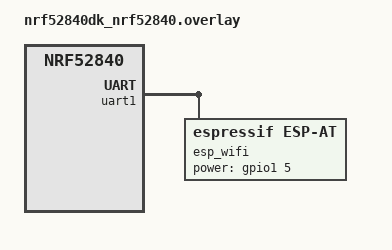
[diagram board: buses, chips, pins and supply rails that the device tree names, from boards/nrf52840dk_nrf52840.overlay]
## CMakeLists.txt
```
# SPDX-License-Identifier: Apache-2.0

cmake_minimum_required(VERSION 3.20.0)

if(BOARD STREQUAL "nrf52840dk/nrf52840")
    if(NOT SHIELD)
        set(SHIELD golioth_esp_at)
        message(WARNING
            "Implicitly selecting golioth_esp_at SHIELD. This behavior is\
             deprecated. Specify '--shield golioth_esp_at' explicitly with\
             'west build' invocation.")
    endif()
endif()

find_package(Zephyr REQUIRED HINTS $ENV{ZEPHYR_BASE})
project(stream)

target_sources(app PRIVATE src/main.c)
```

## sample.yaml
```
sample:
  description: Send data to Golioth Stream service
  name: stream
common:
  harness: pytest
  tags:
    - golioth
    - socket
    - goliothd
tests:
  sample.golioth.stream:
    timeout: 180
    extra_configs:
      - CONFIG_GOLIOTH_SAMPLE_TWISTER_TEST=y
      - arch:posix:CONFIG_NATIVE_UART_0_ON_STDINOUT=y
    platform_allow:
      - esp32s3_devkitc/esp32s3/procpu
      - frdm_rw612
      - native_sim
      - native_sim/native/64
      - nrf9160dk/nrf9160/ns
      - nucleo_h563zi/stm32h563xx
  sample.golioth.stream.wifi:
    harness: pytest
    tags:
      - golioth
      - socket
      - goliothd
    timeout: 180
    extra_configs:
      - CONFIG_GOLIOTH_SAMPLE_TWISTER_TEST=y
    extra_args:
      - EXTRA_CONF_FILE=boards/frdm_rw612_wifi.conf
    platform_allow:
      - frdm_rw612
```

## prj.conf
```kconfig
# Application
CONFIG_GOLIOTH_SAMPLE_COMMON=y

# Golioth Firmware SDK with all dependencies
CONFIG_GOLIOTH_FIRMWARE_SDK=y
CONFIG_GOLIOTH_STREAM=y
```

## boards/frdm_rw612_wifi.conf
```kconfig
# Extra configuration file for using NXP frdm_rw612 with WiFi instead of Ethernet
#   To use, add as extra conf file:
#   west build -p -b frdm_rw612 examples/zephyr/stream --extra-conf boards/frdm_rw612_wifi.conf
#
CONFIG_WIFI=y
CONFIG_WIFI_NXP=y
CONFIG_GOLIOTH_SAMPLE_WIFI=y

# Runtime provisioning for WiFi credentials
CONFIG_WIFI_CREDENTIALS=y
CONFIG_NET_L2_WIFI_SHELL=y
CONFIG_SHELL_STACK_SIZE=2560

# Wifi Configuration
CONFIG_NET_L2_ETHERNET=y
CONFIG_NET_PKT_RX_COUNT=36
CONFIG_NET_PKT_TX_COUNT=36
CONFIG_NET_BUF_RX_COUNT=40
CONFIG_NET_BUF_TX_COUNT=40
CONFIG_NET_BUF_DATA_SIZE=1744

# Handle WiFi Networks with Multiple DNS Servers
CONFIG_DNS_RESOLVER_MAX_SERVERS=3

# Disable Ethernet
CONFIG_ETH_NXP_ENET=n
CONFIG_PHY_MICROCHIP_KSZ8081=n
CONFIG_NET_CONFIG_AUTO_INIT=n
CONFIG_NET_CONFIG_NEED_IPV4=n

CONFIG_ZVFS_POLL_MAX=4
```

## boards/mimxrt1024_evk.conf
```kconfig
CONFIG_GOLIOTH_SAMPLE_DHCP_BIND=y
CONFIG_NET_L2_ETHERNET=y
CONFIG_NET_DHCPV4=y
CONFIG_BUILD_OUTPUT_HEX=y
```

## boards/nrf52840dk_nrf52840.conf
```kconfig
CONFIG_WIFI=y
CONFIG_WIFI_ESP_AT=y
CONFIG_WIFI_ESP_AT_MDM_RX_BUF_COUNT=40

CONFIG_NET_L2_WIFI_SHELL=y
CONFIG_GOLIOTH_SAMPLE_WIFI=y
```

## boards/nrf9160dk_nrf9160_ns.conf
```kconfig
# General config
CONFIG_HEAP_MEM_POOL_SIZE=4096
CONFIG_NEWLIB_LIBC=y

# Networking
CONFIG_NET_SOCKETS_OFFLOAD=y
CONFIG_NET_IPV6=y
CONFIG_NET_IPV6_NBR_CACHE=n
CONFIG_NET_IPV6_MLD=n

# Increase native TLS socket implementation, so that it is chosen instead of
# offloaded nRF91 sockets
CONFIG_NET_SOCKETS_TLS_PRIORITY=35

# Modem library
CONFIG_NRF_MODEM_LIB=y
CONFIG_NRF_MODEM_LIB_ON_FAULT_APPLICATION_SPECIFIC=y

# LTE connectivity with network connection manager
CONFIG_LTE_CONNECTIVITY=y
CONFIG_NET_CONNECTION_MANAGER=y
CONFIG_NET_CONNECTION_MANAGER_MONITOR_STACK_SIZE=1024

# Increased sysworkq size, due to LTE connectivity
CONFIG_SYSTEM_WORKQUEUE_STACK_SIZE=2048

# Disable options y-selected by NCS for no good reason
CONFIG_MBEDTLS_KEY_EXCHANGE_DHE_PSK_ENABLED=n
CONFIG_MBEDTLS_KEY_EXCHANGE_DHE_RSA_ENABLED=n

# Generate MCUboot compatible images
CONFIG_BOOTLOADER_MCUBOOT=y

CONFIG_MODEM_INFO=y
# Add Network Info Support
```

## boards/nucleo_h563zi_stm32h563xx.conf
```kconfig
CONFIG_GOLIOTH_SAMPLE_DHCP_BIND=y
CONFIG_NET_DHCPV4=y
```

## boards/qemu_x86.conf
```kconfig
# Kernel options
CONFIG_ENTROPY_GENERATOR=y
CONFIG_TEST_RANDOM_GENERATOR=y

# Static networking
CONFIG_NET_CONFIG_LOG_LEVEL_DBG=y
CONFIG_NET_CONFIG_SETTINGS=y
CONFIG_NET_CONFIG_NEED_IPV4=y
CONFIG_NET_CONFIG_MY_IPV4_ADDR="192.0.2.1"
CONFIG_NET_CONFIG_MY_IPV4_GW="192.0.2.2"
CONFIG_NET_CONFIG_PEER_IPV4_ADDR="192.0.2.2"
```

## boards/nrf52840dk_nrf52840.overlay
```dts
/*
 * Copyright (C) 2021 Golioth, Inc.
 *
 * SPDX-License-Identifier: Apache-2.0
 */

&uart1_default {
	cts-rts {
		psels = <NRF_PSEL(UART_CTS, 1, 3)>,
			<NRF_PSEL(UART_RTS, 1, 4)>;
	};
};

&uart1_sleep {
	cts-rts {
		psels = <NRF_PSEL(UART_CTS, 1, 3)>,
			<NRF_PSEL(UART_RTS, 1, 4)>;
		low-power-enable;
	};
};

&uart1 {
	status = "okay";
	hw-flow-control;

	esp_wifi: esp-wifi {
		compatible = "espressif,esp-at";
		power-gpios = <&gpio1 5 (GPIO_ACTIVE_HIGH | GPIO_OPEN_DRAIN)>;
		status = "okay";
	};
};
```

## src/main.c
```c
/*
 * Copyright (c) 2023 Golioth, Inc.
 *
 * SPDX-License-Identifier: Apache-2.0
 */

#include <zephyr/logging/log.h>
LOG_MODULE_REGISTER(golioth_stream, LOG_LEVEL_DBG);

#include <golioth/client.h>
#include <golioth/stream.h>
#include <samples/common/sample_credentials.h>
#include <samples/common/net_connect.h>
#include <stdlib.h>
#include <string.h>
#include <zcbor_encode.h>
#include <zephyr/drivers/sensor.h>
#include <zephyr/kernel.h>

struct golioth_client *client;
static K_SEM_DEFINE(connected, 0, 1);

static void on_client_event(struct golioth_client *client,
                            enum golioth_client_event event,
                            void *arg)
{
    bool is_connected = (event == GOLIOTH_CLIENT_EVENT_CONNECTED);
    if (is_connected)
    {
        k_sem_give(&connected);
    }
    LOG_INF("Golioth client %s", is_connected ? "connected" : "disconnected");
}

#if DT_NODE_HAS_STATUS(DT_ALIAS(temp0), okay)

static int get_temperature(struct sensor_value *val)
{
    const struct device *dev = DEVICE_DT_GET(DT_ALIAS(temp0));
    static const enum sensor_channel temp_channels[] = {
        SENSOR_CHAN_AMBIENT_TEMP,
        SENSOR_CHAN_DIE_TEMP,
    };
    int i;
    int err;

    err = sensor_sample_fetch(dev);
    if (err)
    {
        LOG_ERR("Failed to fetch temperature sensor: %d", err);
        return err;
    }

    for (i = 0; i < ARRAY_SIZE(temp_channels); i++)
    {
        err = sensor_channel_get(dev, temp_channels[i], val);
        if (err == -ENOTSUP)
        {
            /* try next channel */
            continue;
        }
        else if (err)
        {
            LOG_ERR("Failed to get temperature: %d", err);
            return err;
        }
        break;
    }

    return err;
}

#else

static int get_temperature(struct sensor_value *val)
{
    static int counter = 0;

    /* generate a temperature from 20 deg to 30 deg, with 0.5 deg step */

    val->val1 = 20 + counter / 2;
    val->val2 = counter % 2 == 1 ? 500000 : 0;

    counter = (counter + 1) % 20;

    return 0;
}

#endif

static void temperature_push_handler(struct golioth_client *client,
                                     enum golioth_status status,
                                     const struct golioth_coap_rsp_code *coap_rsp_code,
                                     const char *path,
                                     void *arg)
{
    if (status != GOLIOTH_OK)
    {
        LOG_WRN("Failed to push temperature: %d (%s)", status, golioth_status_to_str(status));
        return;
    }

    LOG_DBG("Temperature successfully pushed");

    return;
}

static void temperature_push_cbor(const struct sensor_value *temp, bool async)
{
    uint8_t buf[15];
    int err;

    /* Create zcbor state variable for encoding */
    ZCBOR_STATE_E(zse, 1, buf, sizeof(buf), 1);

    /* Encode the CBOR map header */
    bool ok = zcbor_map_start_encode(zse, 1);
    if (!ok)
    {
        LOG_ERR("Failed to start encoding CBOR map");
        return;
    }

    /* Encode the map key "temp" into buf as a text string */
    ok = zcbor_tstr_put_lit(zse, "temp");
    if (!ok)
    {
        LOG_ERR("CBOR: Failed to encode temp name");
        return;
    }

    /* Encode the temperature value into buf as a float */
    ok = zcbor_float32_put(zse, sensor_value_to_float(temp));
    if (!ok)
    {
        LOG_ERR("CBOR: failed to encode temp value");
        return;
    }

    /* Close the CBOR map */
    ok = zcbor_map_end_encode(zse, 1);
    if (!ok)
    {
        LOG_ERR("Failed to close CBOR map");
        return;
    }

    size_t payload_size = (intptr_t) zse->payload - (intptr_t) buf;

    /* Data is sent to Pipelines on the "/data" path */
    err = golioth_stream_set(client,
                             "data",
                             GOLIOTH_CONTENT_TYPE_CBOR,
                             buf,
                             payload_size,
                             temperature_push_handler,
                             NULL);

    if (err)
    {
        LOG_WRN("Failed to push temperature: %d (%s)", err, golioth_status_to_str(err));
        return;
    }
}

int main(void)
{
    struct sensor_value temp;
    int err;

    LOG_DBG("Start Golioth stream sample");

    net_connect();

    /* Note: In production, credentials should be saved in secure storage. For
     * simplicity, we provide a utility that stores credentials as plaintext
     * settings.
     */
    const struct golioth_client_config *client_config = golioth_sample_credentials_get();

    client = golioth_client_create(client_config);
    golioth_client_register_event_callback(client, on_client_event, NULL);

    k_sem_take(&connected, K_FOREVER);

    while (true)
    {
        /* Synchronous using CBOR map */
        err = get_temperature(&temp);
        if (err)
        {
            k_sleep(K_SECONDS(1));
            continue;
        }

        LOG_INF("Sending temperature %d.%06d (sync)", temp.val1, abs(temp.val2));

        temperature_push_cbor(&temp, false);

        k_sleep(K_SECONDS(5));

        /* Callback-based using CBOR map */
        err = get_temperature(&temp);
        if (err)
        {
            k_sleep(K_SECONDS(1));
            continue;
        }

        LOG_INF("Sending temperature %d.%06d (async)", temp.val1, abs(temp.val2));

        temperature_push_cbor(&temp, true);

        k_sleep(K_SECONDS(5));
    }

    return 0;
}
```
